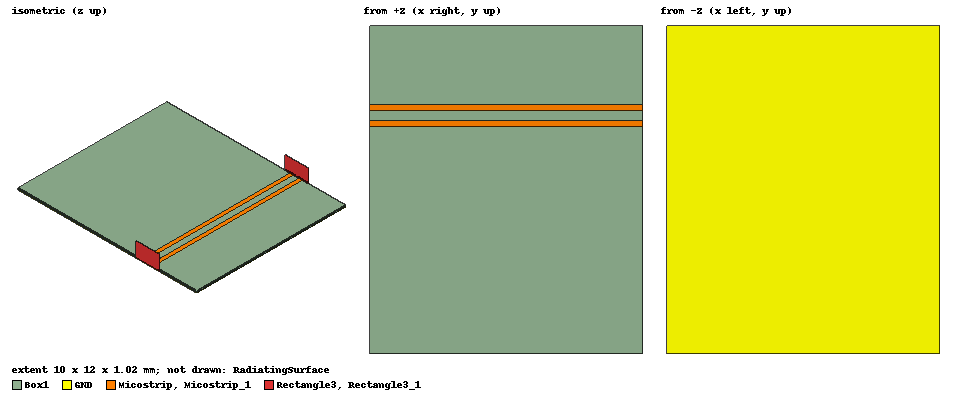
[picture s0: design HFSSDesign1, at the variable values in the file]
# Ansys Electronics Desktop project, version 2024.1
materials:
  vacuum: permittivity=1
  air: permittivity=1.0006 permeability=1.0000004
  Custom_ADM_Material: permittivity=3.3 dielectric_loss_tangent=0.003 delta_H_freq=10GHz
  copper: permeability=0.999991 conductivity=58000000
  pec: conductivity=1e+30

design HFSSDesign1 (HFSS, HFSS Terminal Network, model units mm)
options: Allow_Material_Override Calculate_Lossy_Dielectrics
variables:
  track_width = 0.217994mm
  track_length = 10mm
  sub_thick = 100um
  copper_thick = 20um
  port_thick = 1mil
  port_width = 0.1mm
  spacing = 0.6mm
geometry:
  Box1 [Custom_ADM_Material] = box(corner=(-track_length/2, -9mm, 0mm), size=(track_length, 12mm, 0.1mm))
  GND [copper] = object_from(Box1.face(-z))
  Micostrip [copper] = rectangle(corner=(-track_length/2, -track_width/2, 0.1mm), x_size=track_length, y_size=track_width)
  RadiatingSurface [vacuum] = region(absolute_offset: +X=0mm, -X=0mm, +Y=2mm, -Y=2mm, +Z=2mm, -Z=2mm)
  [Micostrip, GND].thicken(0.02mm)
  Micostrip_1 [copper] = Micostrip.duplicate_along_line(step=(0mm, -spacing, 0mm), total=2)
  Rectangle2 [non-model] = rectangle(corner=(0mm, 3mm, -0.02mm), y_size=-11.996528mm, z_size=1.9979586mm)
  Rectangle3 = rectangle(corner=(track_length/2, -5*port_width-spacing, 0mm), y_size=10*port_width+spacing, z_size=10*sub_thick)
  Rectangle3_1 = Rectangle3.duplicate_along_line(step=(-track_length, 0mm, 0mm), total=2)
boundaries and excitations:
  Open1: Radiation Objects=RadiatingSurface
  T1_1: Terminal port=1 Faces=Micostrip.face(at (5, 0, 0.11)) TerminalResistance=50ohm
  T2_1: Terminal port=1 Faces=Micostrip_1.face(at (5, -0.6, 0.11)) TerminalResistance=50ohm
  T1_2: Terminal port=2 Faces=Micostrip.face(at (-5, 0, 0.11)) TerminalResistance=50ohm
  T2_2: Terminal port=2 Faces=Micostrip_1.face(at (-5, -0.6, 0.11)) TerminalResistance=50ohm
  1: Wave Port Faces=Rectangle3.face(at (5, -0.3, 0.5)) WavePortType=Terminal NumModes=1
  2: Wave Port Faces=Rectangle3_1.face WavePortType=Terminal NumModes=1
  reference conductors: GND
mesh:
  initial mesh: GlobalSurfApproximation{CurvedSurfaceApproxChoice=UseSlider SliderMeshSettings=6}
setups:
  Setup1: HfssDriven Frequency=10GHz MaxDeltaS=0.02 MaximumPasses=20 MinimumPasses=1 MinimumConvergedPasses=1 PercentRefinement=30 BasisOrder=1 PortAccuracy=2 DrivenSolverType="Direct Solver" VariableFlagsForDerivatives(1)
    sweep Sweep: 0GHz to 50GHz, 401 points; Type=Interpolating InterpTolerance=0.5 InterpMaxSolns=250 MinSolvedFreq=0.01GHz InterpUsePortImped=false InterpUsePropConst=false PassivityErrorTolerance=0.0001
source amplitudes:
  1:1, 1:2: 1V 0deg
  2:1, 2:2: 0V 0deg
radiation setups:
  3D: Infinite Sphere Theta=0deg..180deg step 2deg Phi=-180deg..180deg step 2deg
  Elevation: Infinite Sphere Theta=-180deg..180deg step 1deg Phi=0deg..90deg step 90deg
  Azimuth: Infinite Sphere Theta=90deg..90deg step 0deg Phi=-180deg..180deg step 1deg
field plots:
  Mag_Jsurf1: Jsurf over Micostrip_1.face(all 6) Micostrip.face(all 6) on Setup1 : LastAdaptive at Freq=10GHz Phase=0deg
  Mag_E1: E Field on Setup1 : LastAdaptive at Freq=10GHz Phase=250
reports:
  Terminal S Parameter Plot 2: dB(St(T1_2,T1_1)) vs Freq on Setup1 : Sweep; markers m1 at 10GHz, m2 at 50GHz
  Terminal S Parameter Plot 3: dB(St(T1_1,T1_1)) vs Freq on Setup1 : Sweep; markers m1 at 23.25GHz
  Terminal S Parameter Plot 4: dB(St(T2_1,T1_1)) vs Freq on Setup1 : Sweep; markers m1 at 24.125GHz
  Terminal S Parameter Plot 5: dB(St(T2_2,T1_1)) vs Freq on Setup1 : Sweep; markers m1 at 50GHz, m2 at 10GHz
